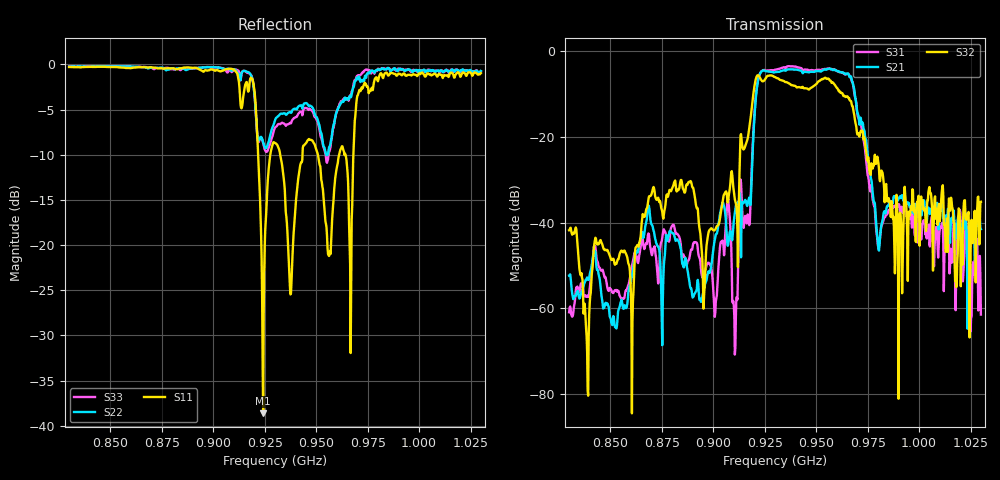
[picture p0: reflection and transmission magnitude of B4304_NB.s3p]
! Matrix data file written by TouchstoneData, EPCOS AG
! FILENAME: "B4304_Pcb01_NB.s3p_newformat"
! COMMENT: "(B4304_Pcb01_NB.s3p) Epcos AG 3/2/2011 3:58:"
! INFO: nport=3, nfreq=801
! DATE: "Mon Apr 18 15:57:21 2011"
! USER: "Sergey Rostovtsev"
! port | pin | signal
!  1  |  1  |  in
!  2  |  3  |  out
!  3  |  4  |  out
# MHZ S MA R 50
! freq  magS11 angS11  magS12 angS12  magS13 angS13  ...
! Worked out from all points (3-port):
!   801 points, 830 MHz to 1.03 GHz, reference 50 ohm
!   strongest paths, dB at 830 MHz, 880 MHz, 930 MHz, 980 MHz, 1.03 GHz:
!     S32: -41.8, -32.0, -6.0, -25.4, -35.1
!     S21: -52.4, -42.4, -4.9, -45.1, -41.5
!     S31: -60.9, -40.8, -4.3, -45.4, -61.5
!   lowest |S11| = -38.6 dB at 924.2 MHz (marker M1), VSWR 1.02, Z = 49.3 - j0.96 ohm
!   |S11| at or under -10 dB: 921.8 MHz to 927.7 MHz (5.918 MHz wide, 0.64 % of centre); 932.5 MHz to 943.4 MHz (10.85 MHz wide, 1.16 % of centre); 950.8 MHz to 961.1 MHz (10.32 MHz wide, 1.08 % of centre) (the widest 3 of 5)
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830  0.9672 -111.1  0.00237 -9.2  0.0009043 8.3
     0.002399 -8.6  0.9716 -68.0  0.008182 -171.1
     0.0008965 7.8  0.008143 -171.1  0.9766 -68.0
838.75  0.9682 -112.7  0.002263 -14.1  0.001369 137.7
        0.002286 -14.6  0.9701 -69.7  0.0003168 4.0
        0.001356 138.0  0.0003121 4.4  0.9742 -69.4
843  0.9679 -113.7  0.003762 -107.1  0.004696 48.5
     0.003756 -106.8  0.9728 -70.2  0.006565 -126.1
     0.004671 48.3  0.006544 -126.8  0.9735 -70.2
901  0.9214 -144.6  0.006795 122.9  0.0008433 -151.4
     0.0068 122.9  0.9641 -97.3  0.00834 169.6
     0.0008791 -150.7  0.008326 169.4  0.9635 -97.8
907.25  0.9432 -155.2  0.005465 72.8  0.01928 -175.4
        0.005489 73.0  0.9474 -107.8  0.01804 121.1
        0.01919 -175.4  0.01799 121.0  0.9115 -107.1
910.75  0.9186 -169.6  0.01433 111.8  0.0003261 -40.2
        0.01433 111.9  0.9319 -117.2  0.01768 11.8
        0.0003455 -39.1  0.0176 11.7  0.9354 -115.9
924.25  0.01171 -123.9  0.5975 55.0  0.6042 -122.6
        0.5985 54.9  0.3695 127.0  0.4499 131.1
        0.6016 -122.7  0.4477 130.9  0.3669 131.5
930  0.3676 -152.8  0.569 -26.6  0.6121 155.9
     0.5696 -26.6  0.4906 -5.3  0.5034 40.1
     0.6097 155.9  0.5009 40.0  0.4463 -6.2
991  0.8818 -68.9  0.01931 29.2  0.01483 -152.0
     0.01932 29.2  0.9414 -38.0  0.0125 84.8
     0.01477 -152.2  0.01247 84.8  0.9466 -38.0
1030  0.8945 -87.9  0.008769 22.8  0.0008704 -0.8
      0.00838 22.5  0.9187 -51.8  0.01706 -66.5
      0.0008432 -2.3  0.01753 -66.5  0.9152 -52.4
